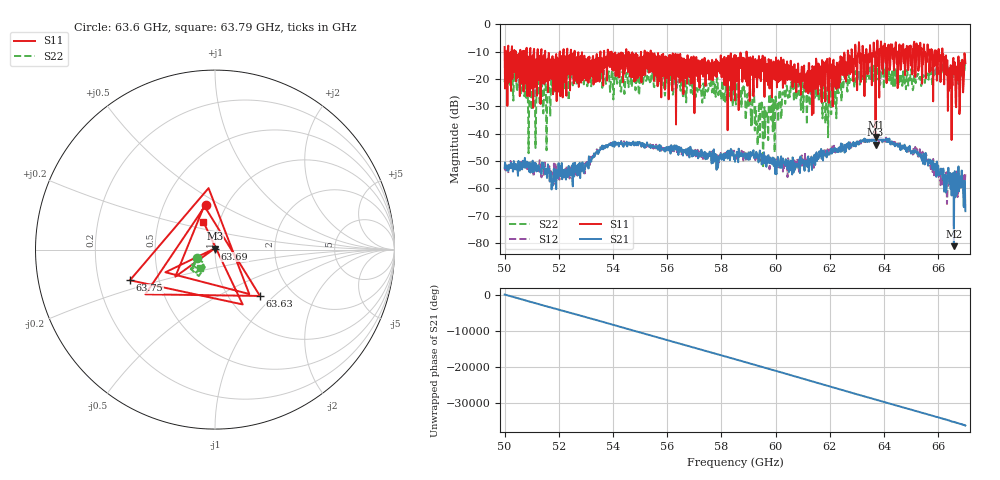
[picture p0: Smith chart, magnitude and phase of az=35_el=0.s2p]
!Created with skrf (http://scikit-rf.org).
# GHz S RI R 50.0
!freq ReS11 ImS11 ReS21 ImS21 ReS12 ImS12 ReS22 ImS22
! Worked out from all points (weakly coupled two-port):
!   1001 points, 50 GHz to 67 GHz, reference 50 ohm
!   highest |S21| = -41.19 dB at 63.72 GHz (marker M1); lowest = -81.1 dB at 66.58 GHz (marker M2)
!   lowest |S11| = -44.0 dB at 63.69 GHz (marker M3), VSWR 1.01, Z = 49.8 + j0.597 ohm
!   |S11| at or under -10 dB: 52.58 GHz to 53.54 GHz (951.4 MHz wide, 1.79 % of centre); 55.39 GHz to 58.92 GHz (3.535 GHz wide, 6.18 % of centre); 58.93 GHz to 62.66 GHz (3.739 GHz wide, 6.15 % of centre) (the widest 3 of 63)
!   |S22| runs from -51.9 to -13.1 dB; largest |S21 - S12| = 0.002
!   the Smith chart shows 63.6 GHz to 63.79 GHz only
!   S11 on the Smith chart (normalised r, x): 63.6 GHz: 0.80, +0.43; 63.63 GHz: 1.38, -0.82; 63.69 GHz: 1.00, +0.01; 63.75 GHz: 0.34, -0.16; 63.79 GHz: 0.84, +0.27
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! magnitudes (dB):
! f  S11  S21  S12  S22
! 50 GHz  -8.3  -52.7  -51.5  -21.2
! 51.07 GHz  -10.1  -53.9  -55.8  -23.1
! 51.82 GHz  -13.7  -52.7  -50.9  -24.7
! 52.84 GHz  -12.3  -51.2  -51.3  -17.9
! 53.98 GHz  -14.7  -44.6  -43.5  -17.9
! 55.68 GHz  -13.4  -45.2  -46.0  -21.5
! 58.5 GHz  -27.9  -50.3  -47.9  -25.0
! 59.61 GHz  -12.1  -49.0  -50.9  -41.4
! 60.34 GHz  -14.7  -51.0  -52.7  -26.0
! 61.34 GHz  -33.2  -53.3  -50.9  -26.2
! 62 GHz  -12.7  -46.9  -46.7  -23.6
! 63.6 GHz  -11.9  -41.9  -41.8  -19.1
! 63.63 GHz  -8.9  -42.6  -42.2  -15.2
! 63.69 GHz  -44.0  -43.2  -42.5  -16.2
! 63.72 GHz  -10.1  -41.2  -42.5  -20.4
! 63.75 GHz  -6.0  -41.8  -42.2  -15.9
! 63.79 GHz  -15.4  -41.9  -41.9  -17.5
! 64.18 GHz  -12.1  -43.1  -42.6  -17.0
! 66.1 GHz  -13.3  -52.8  -56.0  -17.7
! 66.58 GHz  -18.1  -81.1  -58.1  -16.1
! 66.83 GHz  -14.1  -55.7  -59.1  -19.2
! 67 GHz  -14.2  -68.4  -53.9  -14.8
